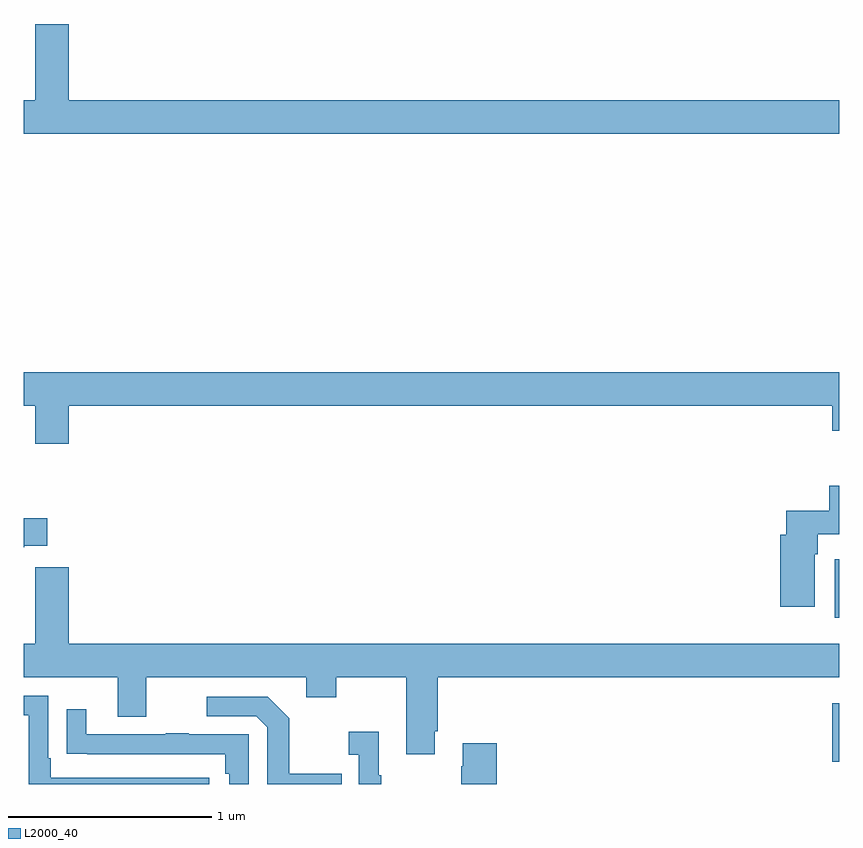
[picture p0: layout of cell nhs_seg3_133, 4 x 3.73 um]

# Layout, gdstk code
import gdstk
lib = gdstk.Library(unit=1e-6, precision=1e-09)
def R(c, l, rs):  # rectangles x0, y0, x1, y1
    for r in rs: c.add(gdstk.rectangle(r[:2], r[2:], *l))
def P(c, l, *ps):  # polygons
    for p in ps: c.add(gdstk.Polygon(p, *l))
L2000_40 = (2000, 40)

nhs_seg3_133 = lib.new_cell('nhs_seg3_133')
R(nhs_seg3_133, L2000_40, [(120.965,692.51,121,692.797), (120.977,693.216,121,693.502)])
P(nhs_seg3_133, L2000_40, [(121,695.752),(117.22,695.752),(117.22,696.127),(117.056,696.127),(117.056,695.752),(117,695.752),(117,695.588),(121,695.588)],
  [(117.22,694.256),(120.965,694.256),(120.965,694.132),(121,694.132),(121,694.42),(117,694.42),(117,694.256),(117.056,694.256),(117.056,694.068),(117.22,694.068)],
  [(120.88,693.527),(120.893,693.527),(120.893,693.624),(121,693.624),(121,693.862),(120.95,693.862),(120.95,693.74),(120.74,693.74),(120.74,693.622),(120.71,693.622),(120.71,693.27),(120.88,693.27)],
  [(117.002,693.569),(117.115,693.569),(117.115,693.704),(117,693.704),(117,693.562),(117.002,693.562)],
  [(119.017,692.659),(119.03,692.659),(119.03,692.924),(121,692.924),(121,693.088),(117.22,693.088),(117.22,693.463),(117.056,693.463),(117.056,693.088),(117,693.088),(117,692.924),(117.461,692.924),(117.461,692.73),(117.601,692.73),(117.601,692.924),(118.385,692.924),(118.385,692.825),(118.533,692.825),(118.533,692.924),(118.877,692.924),(118.877,692.547),(119.017,692.547)],
  [(117.91,692.43),(117.133,692.43),(117.133,692.527),(117.12,692.527),(117.12,692.832),(117,692.832),(117,692.736),(117.024,692.736),(117.024,692.4),(117.91,692.4)],
  [(118.559,692.451),(118.303,692.451),(118.303,692.723),(118.197,692.829),(117.897,692.829),(117.897,692.733),(118.14,692.733),(118.194,692.679),(118.194,692.4),(118.559,692.4)],
  [(118.104,692.643),(117.809,692.643),(117.809,692.648),(117.697,692.648),(117.697,692.643),(117.307,692.643),(117.307,692.767),(117.211,692.767),(117.211,692.548),(117.313,692.548),(117.313,692.547),(117.988,692.547),(117.988,692.45),(118.008,692.45),(118.008,692.4),(118.104,692.4)],
  [(118.753,692.443),(118.741,692.443),(118.741,692.656),(118.593,692.656),(118.593,692.543),(118.644,692.543),(118.644,692.4),(118.753,692.4)],
  [(119.321,692.599),(119.153,692.599),(119.153,692.486),(119.146,692.486),(119.146,692.4),(119.321,692.4)])

lib.write_gds('nhs_seg3_133.gds')
